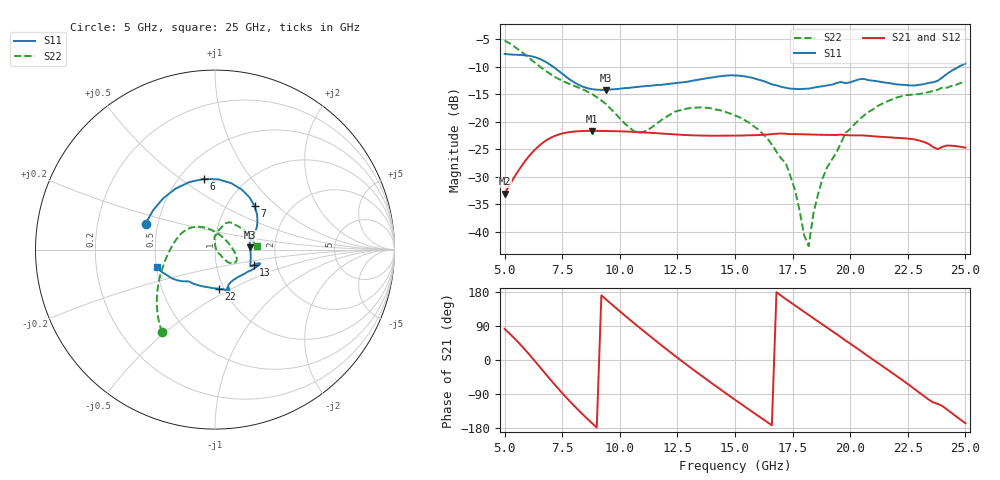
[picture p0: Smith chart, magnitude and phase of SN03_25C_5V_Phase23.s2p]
!File name = SN03_25C_5V_Phase23.s2p
!Date = 2/3/2014
!Time = 2:35 PM
!Test duration(min) = 0.07
!Test = SPars
!MPTS version = 7.120.8
!Comments =
!set_LD1(binary) = 23
!set_LD2(binary) = 524264
!test = SPars
!date_code = 20140203
!file_name = SN03_25C_5V_Phase23.s2p
!VREF(V) = 5.000
!VREF(mA) = 0.003
# GHz  S  DB  R  50
!%	Freq(GHz)  S11(dB)  S11(deg)  S21(dB)  S21(deg)  S12(dB)  S12(deg)  S22(dB)  S22(deg)
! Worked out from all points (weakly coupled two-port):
!   101 points, 5 GHz to 25 GHz, reference 50 ohm
!   highest |S21| = -21.66 dB at 8.8 GHz (marker M1); lowest = -33.1 dB at 5 GHz (marker M2)
!   lowest |S11| = -14.2 dB at 9.4 GHz (marker M3), VSWR 1.48, Z = 74.1 + j1.9 ohm
!   |S11| at or under -10 dB: 7.1 GHz to 24.72 GHz (17.62 GHz wide, 111 % of centre)
!   |S22| runs from -42.6 to -5.2 dB; largest |S21 - S12| = 0.00038
!   S11 on the Smith chart (normalised r, x): 5 GHz: 0.43, +0.15; 6 GHz: 0.65, +0.61; 7 GHz: 1.34, +0.73; 13 GHz: 1.52, -0.28; 22 GHz: 0.95, -0.43; 25 GHz: 0.50, -0.11
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5  -7.69 159.4  -33.08 82.1  -33.10 82.1  -5.24 -122.7
6  -7.99 99.1  -26.54 19.3  -26.56 19.3  -8.20 -145.3
7  -9.70 47.6  -22.91 -52.6  -22.94 -52.4  -11.38 -172.3
8.4  -13.64 15.4  -21.68 -144.0  -21.71 -143.9  -14.13 146.4
8.8  -14.09 11.2  -21.66 -167.1  -21.68 -167.0  -14.99 135.9
9.4  -14.21 3.6  -21.68 160.0  -21.71 160.2  -16.79 119.5
10.8  -13.66 -17.0  -21.89 88.1  -21.90 88.1  -22.00 48.7
11.8  -13.30 -24.7  -22.14 39.2  -22.15 39.2  -19.70 -2.3
13  -12.69 -21.9  -22.44 -17.0  -22.44 -17.1  -17.55 -23.3
15  -11.60 -17.7  -22.52 -104.9  -22.52 -105.0  -18.87 -41.0
16.2  -12.56 -28.4  -22.38 -155.5  -22.40 -155.5  -22.15 -45.2
17.2  -13.83 -45.9  -22.17 161.0  -22.19 161.0  -27.47 -43.9
17.6  -14.03 -53.5  -22.25 144.1  -22.26 144.1  -32.31 -44.4
18  -14.03 -60.2  -22.28 127.1  -22.30 127.2  -40.61 -7.7
18.2  -13.98 -63.2  -22.31 118.7  -22.32 118.7  -42.59 50.6
18.4  -13.83 -65.5  -22.33 110.3  -22.35 110.3  -36.71 77.0
18.8  -13.56 -68.6  -22.37 93.6  -22.39 93.7  -30.29 88.7
19.8  -13.02 -72.1  -22.43 51.3  -22.45 51.4  -22.02 90.0
21.8  -13.05 -81.3  -22.86 -33.1  -22.88 -33.0  -15.98 68.0
22  -13.22 -84.4  -22.92 -41.6  -22.94 -41.5  -15.62 65.2
23.6  -12.84 -128.5  -24.59 -112.0  -24.61 -112.0  -14.38 37.7
25  -9.44 -163.6  -24.71 -166.8  -24.73 -166.8  -12.67 5.1
